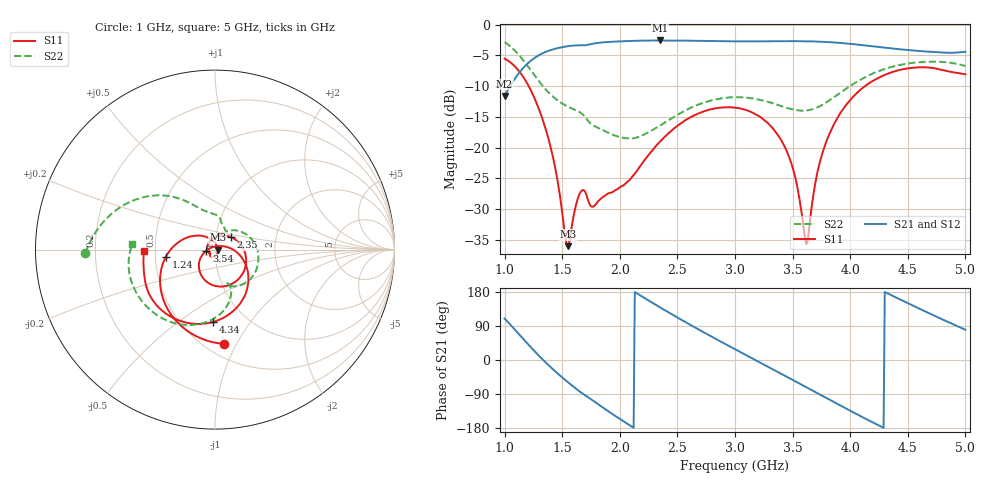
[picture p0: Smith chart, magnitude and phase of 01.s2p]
!Agilent Technologies,N5224A,MY51441093,A.09.90.21
!Agilent N5224A: A.09.90.21
!Date: Wednesday, October 01, 2025 16:35:51
!Correction: S11(Full 2 Port(1,2))
!S21(Full 2 Port(1,2))
!S12(Full 2 Port(1,2))
!S22(Full 2 Port(1,2))
!S2P File: Measurements: S11, S21, S12, S22:
# Hz S  dB  R 50
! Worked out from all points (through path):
!   401 points, 1 GHz to 5 GHz, reference 50 ohm
!   highest |S21| = -2.58 dB at 2.35 GHz (marker M1); lowest = -11.6 dB at 1 GHz (marker M2)
!   lowest |S11| = -36.0 dB at 1.55 GHz (marker M3), VSWR 1.03, Z = 51.6 - j0.0412 ohm
!   |S11| at or under -10 dB: 1.209 GHz to 4.129 GHz (2.92 GHz wide, 109 % of centre)
!   |S22| runs from -18.5 to -2.8 dB; largest |S21 - S12| = 0.0034
!   S11 on the Smith chart (normalised r, x): 1 GHz: 0.61, -0.89; 1.24 GHz: 0.57, -0.05; 2.35 GHz: 1.18, +0.17; 3.54 GHz: 0.91, -0.01; 4.34 GHz: 0.71, -0.68; 5 GHz: 0.43, -0.01
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1e9  -5.55 -84.4  -11.61 109.4  -11.58 109.4  -2.83 -178.5
1.13e9  -7.67 -131.9  -7.75 66.3  -7.75 66.3  -5.08 152.7
1.24e9  -11.16 -171.7  -5.69 29.7  -5.68 29.6  -7.74 132.8
1.39e9  -19.22 135.0  -4.20 -16.1  -4.20 -16.2  -11.18 115.8
1.55e9  -36.03 -1.4  -3.51 -58.7  -3.51 -58.7  -13.34 101.5
1.67e9  -26.99 -112.8  -3.37 -87.0  -3.36 -87.0  -14.47 85.6
1.83e9  -28.41 -148.3  -2.93 -120.6  -2.92 -120.6  -16.97 72.1
2.03e9  -26.15 139.0  -2.70 -161.3  -2.69 -161.3  -18.42 60.7
2.34e9  -19.22 40.7  -2.58 140.5  -2.57 140.6  -16.55 46.2
2.35e9  -19.03 38.5  -2.58 138.7  -2.57 138.8  -16.43 45.4
2.66e9  -14.63 -20.8  -2.64 84.6  -2.62 84.6  -13.17 11.3
3e9  -13.52 -75.3  -2.73 28.4  -2.71 28.4  -11.80 -31.3
3.34e9  -17.14 -129.7  -2.71 -26.5  -2.69 -26.5  -12.87 -64.0
3.54e9  -26.30 -173.7  -2.70 -59.0  -2.68 -59.0  -13.93 -70.2
3.62e9  -35.73 102.2  -2.71 -72.0  -2.70 -72.1  -13.97 -69.4
3.67e9  -28.99 33.7  -2.74 -80.2  -2.72 -80.3  -13.78 -68.4
3.76e9  -20.84 3.5  -2.80 -95.0  -2.78 -95.1  -13.03 -67.6
3.9e9  -14.83 -23.5  -2.96 -117.9  -2.94 -118.0  -11.27 -71.1
4.12e9  -10.12 -59.0  -3.37 -152.9  -3.35 -153.1  -8.65 -87.5
4.34e9  -7.89 -91.7  -3.84 173.5  -3.81 173.3  -6.98 -110.2
4.67e9  -6.96 -138.3  -4.39 125.5  -4.37 125.3  -6.04 -146.6
5e9  -8.09 -179.2  -4.43 79.8  -4.42 79.6  -6.72 175.9
